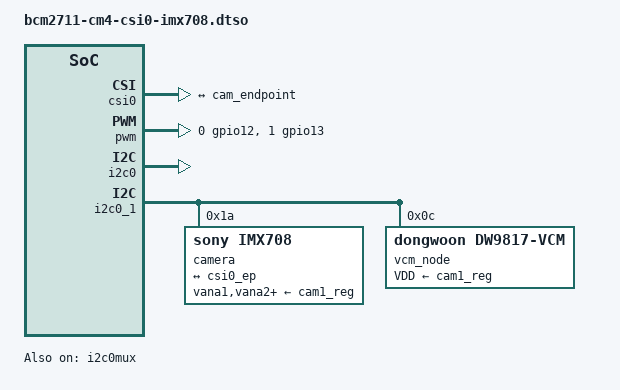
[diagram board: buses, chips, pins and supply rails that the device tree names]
// SPDX-License-Identifier: GPL-2.0-only
// Definitions for IMX219 camera module on VC I2C bus

/dts-v1/;
/plugin/;

&{/} {
	cam1_clk: cam1_clk {
		compatible = "fixed-clock";
		#clock-cells = <0>;
		clock-frequency = <24000000>;
	};
};

&csi0 {
	status = "okay";

	port {
		csi0_ep: endpoint {
			remote-endpoint = <&cam_endpoint>;
			clock-lanes = <0>;
			data-lanes = <1 2>;
			clock-noncontinuous;
		};
	};
};

&pwm {
	pinctrl-names = "default";
	pinctrl-0 = <&pwm0_0_gpio12 &pwm0_1_gpio13>;
	status = "okay";
};

&i2c0 {
	status = "okay";
};

&i2c0_1 {
	#address-cells = <1>;
	#size-cells = <0>;
	status = "okay";

	camera@1a {
		compatible = "sony,imx708";
		reg = <0x1a>;

		clocks = <&cam1_clk>;
		clock-names = "xclk";

		vana1-supply = <&cam1_reg>;     /* 2.8v */
		vana2-supply = <&cam1_reg>;/* 1.8v */
		vdig-supply = <&cam1_reg>;      /* 1.1v */
		vddl-supply = <&cam1_reg>;      /* 1.8v */

		rotation = <180>;
		orientation = <2>;

		lens-focus = <&vcm_node>;

		port {
			cam_endpoint: endpoint {
				remote-endpoint = <&csi0_ep>;
				clock-lanes = <0>;
				data-lanes = <1 2>;
				clock-noncontinuous;
				link-frequencies = /bits/ 64 <450000000>;
			};
		};
	};

	vcm_node: dw9817@c {
		compatible = "dongwoon,dw9817-vcm";
		reg = <0x0c>;
		VDD-supply = <&cam1_reg>;
		status = "okay";
	};

};

&i2c0mux {
	status = "okay";
};
